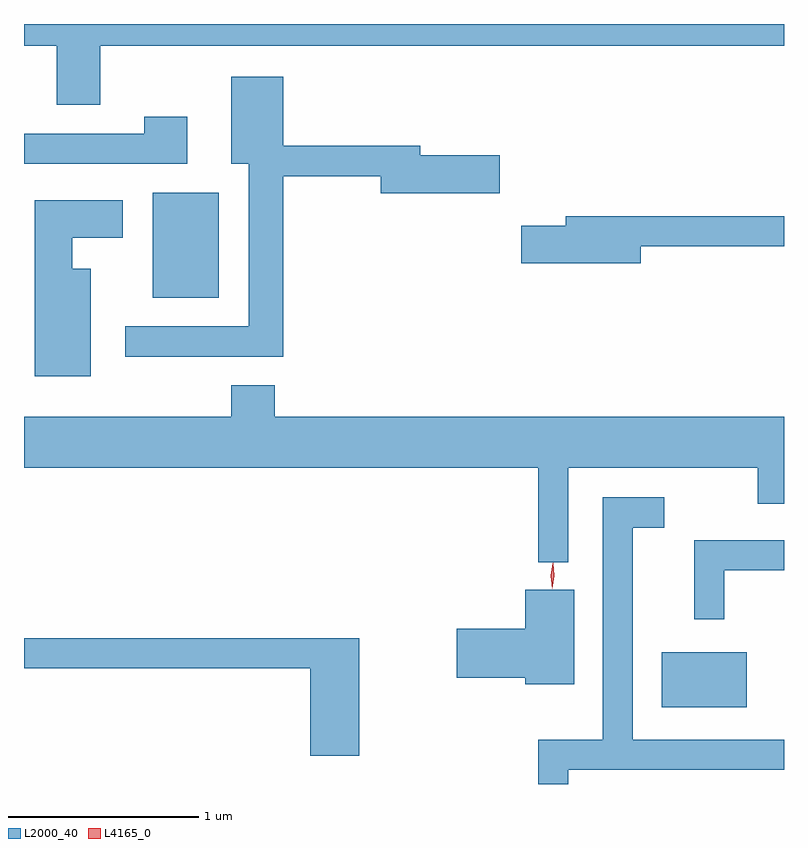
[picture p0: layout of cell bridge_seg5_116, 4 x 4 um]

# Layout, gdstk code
import gdstk
lib = gdstk.Library(unit=1e-6, precision=1e-09)
def R(c, l, rs):  # rectangles x0, y0, x1, y1
    for r in rs: c.add(gdstk.rectangle(r[:2], r[2:], *l))
def P(c, l, *ps):  # polygons
    for p in ps: c.add(gdstk.Polygon(p, *l))
L2000_40 = (2000, 40)
L4165_0 = (4165, 0)

bridge_seg5_116 = lib.new_cell('bridge_seg5_116')
R(bridge_seg5_116, L2000_40, [(1022.606,1522.136,1023.054,1522.424), (1019.926,1524.291,1020.274,1524.844)])
P(bridge_seg5_116, L2000_40, [(1019.649,1525.616),(1023.249,1525.616),(1023.249,1525.731),(1019.249,1525.731),(1019.249,1525.616),(1019.421,1525.616),(1019.421,1525.306),(1019.649,1525.306)],
  [(1020.614,1524.931),(1021.126,1524.931),(1021.126,1524.841),(1021.754,1524.841),(1021.754,1525.039),(1021.334,1525.039),(1021.334,1525.089),(1020.614,1525.089),(1020.614,1525.454),(1020.341,1525.454),(1020.341,1524.996),(1020.431,1524.996),(1020.431,1524.139),(1019.783,1524.139),(1019.783,1523.981),(1020.614,1523.981)],
  [(1020.109,1525.244),(1019.881,1525.244),(1019.881,1525.154),(1019.249,1525.154),(1019.249,1524.996),(1020.109,1524.996)],
  [(1019.599,1524.444),(1019.504,1524.444),(1019.504,1524.606),(1019.769,1524.606),(1019.769,1524.804),(1019.306,1524.804),(1019.306,1523.876),(1019.599,1523.876)],
  [(1022.494,1524.561),(1023.249,1524.561),(1023.249,1524.719),(1022.101,1524.719),(1022.101,1524.669),(1021.866,1524.669),(1021.866,1524.471),(1022.494,1524.471)],
  [(1022.114,1523.396),(1023.111,1523.396),(1023.111,1523.206),(1023.249,1523.206),(1023.249,1523.664),(1020.569,1523.664),(1020.569,1523.829),(1020.341,1523.829),(1020.341,1523.664),(1019.249,1523.664),(1019.249,1523.396),(1021.956,1523.396),(1021.956,1522.898),(1022.114,1522.898)],
  [(1022.114,1521.806),(1023.249,1521.806),(1023.249,1521.964),(1022.454,1521.964),(1022.454,1523.081),(1022.618,1523.081),(1022.618,1523.239),(1022.296,1523.239),(1022.296,1521.964),(1021.956,1521.964),(1021.956,1521.731),(1022.114,1521.731)],
  [(1022.934,1522.856),(1023.249,1522.856),(1023.249,1523.014),(1022.776,1523.014),(1022.776,1522.598),(1022.934,1522.598)],
  [(1022.144,1522.754),(1021.886,1522.754),(1021.886,1522.549),(1021.526,1522.549),(1021.526,1522.291),(1021.886,1522.291),(1021.886,1522.256),(1022.144,1522.256)],
  [(1021.014,1522.499),(1019.249,1522.499),(1019.249,1522.341),(1020.756,1522.341),(1020.756,1521.881),(1021.014,1521.881)])
P(bridge_seg5_116, L4165_0, [(1022.028,1522.761),(1022.028,1522.761),(1022.021,1522.827),(1022.033,1522.891),(1022.034,1522.892),(1022.034,1522.891),(1022.041,1522.826),(1022.029,1522.761)],
  [(1022.028,1522.758),(1022.028,1522.758),(1022.021,1522.827),(1022.033,1522.894),(1022.034,1522.895),(1022.034,1522.894),(1022.041,1522.826),(1022.029,1522.758)])

lib.write_gds('bridge_seg5_116.gds')
